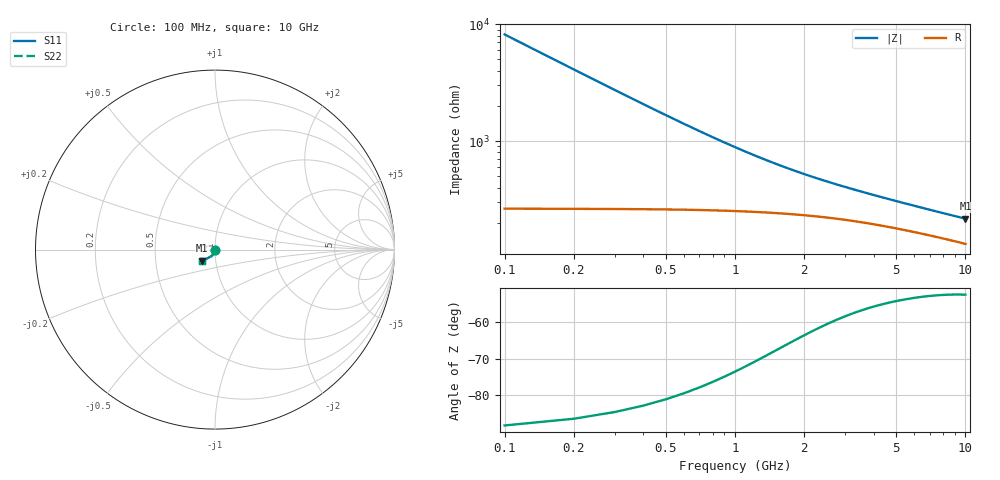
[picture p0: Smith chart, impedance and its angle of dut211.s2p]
! Touchstone file exported from HFSS 2024.1.0
!  File:  C:/UserFiles/LocalFiles/RDL_TSV_Batchsim/temp_TSV1_211_1778757864.aedt
!  Generated:  07:28:25 PM May 14, 2026
!  Design:  TSV1
!  Project:  temp_TSV1_211_1778757864
!  Setup:  Setup1
!  Solution:  Sweep
! Variables:
!  dtsv = 23.79um
!  hbump = 3um
!  htsv = 67.51um
!  lrdl = 252.1521522um
!  p = 40
!  p1 = 54.56um
!  t = 500um
!  trdl = 3um
!  wrdl = 24.89489489um
# GHz S MA R 50.000000
! Terminal data exported
! Port[1] = TSV22_T1
! Port[2] = TSV22_T2
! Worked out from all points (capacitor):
!   100 points, 100 MHz to 10 GHz, reference 50 ohm
!   read as one part in shunt: C = 195 fF near 100 MHz
!   lowest |Z| = 217 ohm at 10 GHz (marker M1)
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0.1  0.002818 -90.7  0.9998 -0.2  0.9998 -0.2  0.002818 -90.7
! Gamma 0 0 0 0
! Port Impedance 50 0 50 0
0.2  0.005619 -93.4  0.9995 -0.4  0.9995 -0.4  0.005619 -93.4
0.3  0.008389 -95.7  0.999 -0.6  0.999 -0.6  0.008389 -95.7
0.4  0.01111 -97.7  0.9983 -0.7  0.9983 -0.7  0.01111 -97.7
0.5  0.01378 -99.7  0.9974 -0.9  0.9974 -0.9  0.01378 -99.7
0.6  0.01638 -101.7  0.9964 -1.1  0.9964 -1.1  0.01638 -101.7
0.7  0.0189 -103.5  0.9952 -1.2  0.9952 -1.2  0.0189 -103.5
0.8  0.02133 -105.3  0.994 -1.4  0.994 -1.4  0.02133 -105.3
0.9  0.02367 -107.0  0.9927 -1.5  0.9927 -1.5  0.02367 -107.0
1.1  0.02806 -110.1  0.99 -1.8  0.99 -1.8  0.02806 -110.1
1.4  0.03395 -114.2  0.9859 -2.1  0.9859 -2.1  0.03395 -114.2
1.6  0.03743 -116.6  0.9831 -2.3  0.9831 -2.3  0.03743 -116.6
1.8  0.04059 -118.7  0.9805 -2.5  0.9805 -2.5  0.04059 -118.7
2.1  0.04484 -121.4  0.9768 -2.7  0.9768 -2.7  0.04484 -121.4
2.5  0.04974 -124.3  0.9722 -3.0  0.9722 -3.0  0.04974 -124.3
2.9  0.05398 -126.6  0.9682 -3.2  0.9682 -3.2  0.05398 -126.6
3.4  0.05863 -128.8  0.9638 -3.4  0.9638 -3.4  0.05863 -128.8
4.2  0.06502 -131.4  0.9577 -3.8  0.9577 -3.8  0.06502 -131.4
5.1  0.07117 -133.5  0.952 -4.2  0.952 -4.2  0.07117 -133.5
6.7  0.08029 -136.0  0.9437 -4.8  0.9437 -4.8  0.08029 -136.0
8.4  0.08824 -137.7  0.9367 -5.4  0.9367 -5.4  0.08824 -137.7
10  0.0946 -138.7  0.9313 -5.9  0.9313 -5.9  0.0946 -138.7
